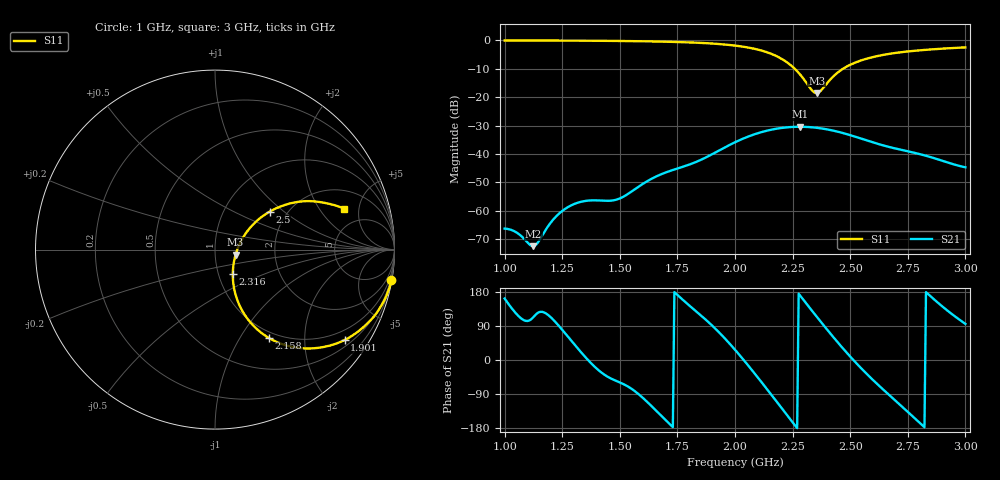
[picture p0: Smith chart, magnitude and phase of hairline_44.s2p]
! TOUCHSTONE file generated by CST MICROWAVE STUDIO
! Date and time: Tue Mar 18 20:31:56 2025
! Project name: hairline.cst
! Parameters = {B=12.5; D=160; F=25; Feed=2.85625; Fracture=1; L=100; M=30; R=0.384908; S=1.5; Theta=270; length=57.125; wave=114.25}
! Header version: 2024
! Port assignment regex: !\s*Touchstone port\s*([0-9]+)\s*=\s*(CST MWS port|CST DES external port|CST DES block port)\s*(.+)\s* \(\"(.*)\"\)(\s*mode\s*([0-9]+))?.*
! Touchstone port assignment:
! Touchstone port 1 = CST MWS port 1 ("")
! Touchstone port 2 = CST MWS port 2 ("")
# GHz S DB R 50
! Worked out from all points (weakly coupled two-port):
!   305 points, 1 GHz to 3 GHz, reference 50 ohm
!   highest |S21| = -30.40 dB at 2.283 GHz (marker M1); lowest = -72.4 dB at 1.125 GHz (marker M2)
!   lowest |S11| = -18.5 dB at 2.355 GHz (marker M3), VSWR 1.27, Z = 62.9 - j3.5 ohm
!   |S11| at or under -10 dB: 2.259 GHz to 2.469 GHz (209.3 MHz wide, 8.85 % of centre)
!   S12 and S22 are empty: the file has one direction only
!   S11 on the Smith chart (normalised r, x): 1 GHz: 0, -12; 1.901 GHz: 0.68, -3.04; 2.158 GHz: 0.91, -1.35; 2.316 GHz: 1.17, -0.32; 2.5 GHz: 1.63, +0.80; 3 GHz: 3.29, +3.47
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1  -0.02 -9.7  -66.24 162.2  -200.00 0.0  -200.00 0.0
1.05263  -0.03 -10.5  -67.64 120.8  -200.00 0.0  -200.00 0.0
1.125  -0.03 -11.5  -72.43 113.2  -200.00 0.0  -200.00 0.0
1.14474  -0.04 -11.8  -71.10 124.6  -200.00 0.0  -200.00 0.0
1.19737  -0.05 -12.7  -64.44 114.4  -200.00 0.0  -200.00 0.0
1.23684  -0.06 -13.3  -60.93 89.1  -200.00 0.0  -200.00 0.0
1.28289  -0.08 -14.2  -58.32 55.7  -200.00 0.0  -200.00 0.0
1.33553  -0.10 -15.2  -56.73 17.8  -200.00 0.0  -200.00 0.0
1.49342  -0.20 -18.7  -55.85 -57.5  -200.00 0.0  -200.00 0.0
1.67105  -0.41 -24.0  -47.41 -141.7  -200.00 0.0  -200.00 0.0
1.90132  -1.10 -34.9  -40.04 90.5  -200.00 0.0  -200.00 0.0
2  -1.83 -42.1  -35.86 27.1  -200.00 0.0  -200.00 0.0
2.15789  -4.75 -58.5  -31.42 -91.8  -200.00 0.0  -200.00 0.0
2.22368  -7.61 -65.1  -30.62 -143.6  -200.00 0.0  -200.00 0.0
2.28289  -12.04 -64.3  -30.40 169.8  -200.00 0.0  -200.00 0.0
2.31579  -15.59 -53.3  -30.48 144.2  -200.00 0.0  -200.00 0.0
2.33553  -17.70 -37.3  -30.60 128.9  -200.00 0.0  -200.00 0.0
2.35526  -18.55 -13.4  -30.77 113.8  -200.00 0.0  -200.00 0.0
2.44079  -11.66 33.8  -32.03 50.3  -200.00 0.0  -200.00 0.0
2.5  -8.59 34.8  -33.35 9.1  -200.00 0.0  -200.00 0.0
2.67105  -4.72 27.7  -37.55 -93.4  -200.00 0.0  -200.00 0.0
3  -2.46 17.6  -44.67 95.2  -200.00 0.0  -200.00 0.0
